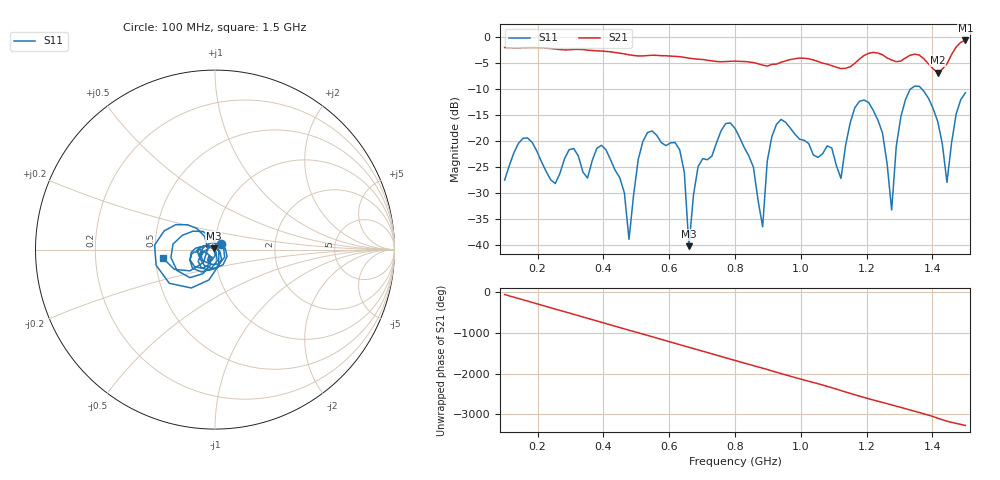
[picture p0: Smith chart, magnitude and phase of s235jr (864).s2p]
! NanoVNA-App
! Date: 2025-09-25 15:10:54
! Start: 100MHz Stop: 1,5GHz Points: 101
! S-Parameter data: F S11 S21 S12 S22
# Hz S RI R 50
!  Frequency  S11_Real  S11_Imag  S21_Real  S21_Imag  S12_Real  S12_Imag  S22_Real  S22_Imag
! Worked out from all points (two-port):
!   101 points, 100 MHz to 1.5 GHz, reference 50 ohm
!   highest |S21| = -0.61 dB at 1.5 GHz (marker M1); lowest = -6.8 dB at 1.416 GHz (marker M2)
!   |S21| within 3 dB of the highest: start of sweep to 602.6 MHz; 1.19 GHz to 1.254 GHz (64.1 MHz wide, 5.25 % of centre) (the widest 2 of 4)
!   lowest |S11| = -40.2 dB at 660 MHz (marker M3), VSWR 1.02, Z = 49.3 + j0.632 ohm
!   |S11| at or under -10 dB: start of sweep to 1.332 GHz; 1.368 GHz to end of sweep
!   S12 and S22 are empty: the file has one direction only
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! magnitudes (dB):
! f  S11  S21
! 100 MHz  -27.5  -2.0
! 156 MHz  -19.4  -2.0
! 338 MHz  -25.9  -2.4
! 408 MHz  -21.6  -2.7
! 478 MHz  -38.9  -3.4
! 520 MHz  -20.1  -3.6
! 576 MHz  -20.2  -3.5
! 632 MHz  -21.6  -3.7
! 660 MHz  -40.2  -4.0
! 688 MHz  -24.8  -4.2
! 800 MHz  -17.5  -4.6
! 884 MHz  -36.4  -5.3
! 926 MHz  -16.8  -5.2
! 1.038 GHz  -22.6  -4.4
! 1.122 GHz  -27.2  -6.0
! 1.206 GHz  -12.5  -3.1
! 1.248 GHz  -18.4  -3.4
! 1.276 GHz  -33.2  -4.4
! 1.332 GHz  -10.0  -3.5
! 1.416 GHz  -16.2  -6.8
! 1.444 GHz  -27.9  -5.1
! 1.5 GHz  -10.7  -0.6
